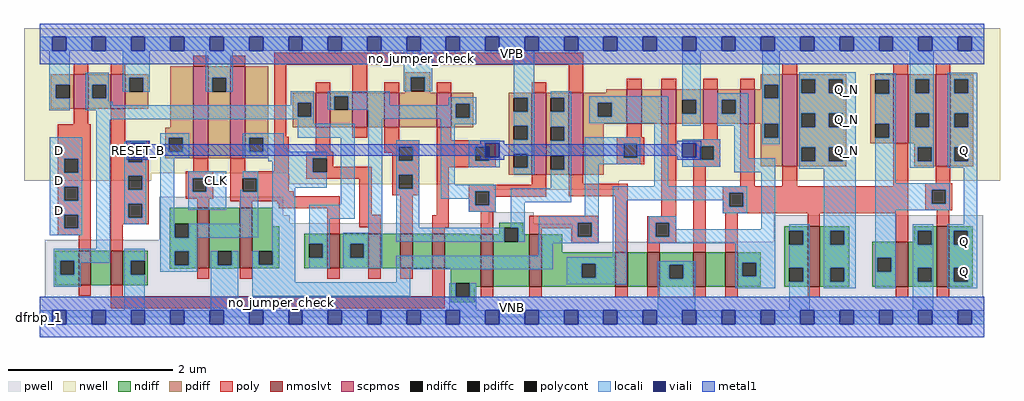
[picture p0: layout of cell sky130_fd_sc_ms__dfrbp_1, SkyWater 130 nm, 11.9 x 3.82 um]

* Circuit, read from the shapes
.subckt sky130_fd_sc_ms__dfrbp_1 CLK D RESET_B VGND VNB VPB VPWR Q Q_N
XM1 n1 D n2 VNB sky130_fd_pr__nfet_01v8_lvt w=0.42 l=0.15
XM2 VGND RESET_B n1 VNB sky130_fd_pr__nfet_01v8_lvt w=0.42 l=0.15
XM3 VGND CLK n3 VNB sky130_fd_pr__nfet_01v8_lvt w=0.74 l=0.15
XM4 n4 n3 VGND VNB sky130_fd_pr__nfet_01v8_lvt w=0.74 l=0.15
XM5 n5 n3 n2 VNB sky130_fd_pr__nfet_01v8_lvt w=0.42 l=0.15
XM6 n6 n4 n5 VNB sky130_fd_pr__nfet_01v8_lvt w=0.42 l=0.15
XM7 n7 n8 n6 VNB sky130_fd_pr__nfet_01v8_lvt w=0.42 l=0.15
XM8 VGND RESET_B n7 VNB sky130_fd_pr__nfet_01v8_lvt w=0.42 l=0.15
XM9 n8 n5 VGND VNB sky130_fd_pr__nfet_01v8_lvt w=0.64 l=0.15
XM10 n9 n4 n8 VNB sky130_fd_pr__nfet_01v8_lvt w=0.64 l=0.15
XM11 n10 n3 n9 VNB sky130_fd_pr__nfet_01v8_lvt w=0.42 l=0.15
XM12 VGND n11 n10 VNB sky130_fd_pr__nfet_01v8_lvt w=0.42 l=0.15
XM13 n12 RESET_B VGND VNB sky130_fd_pr__nfet_01v8_lvt w=0.42 l=0.15
XM14 n11 n9 n12 VNB sky130_fd_pr__nfet_01v8_lvt w=0.42 l=0.15
XM15 Q_N n9 VGND VNB sky130_fd_pr__nfet_01v8_lvt w=0.74 l=0.15
XM16 VGND n9 n13 VNB sky130_fd_pr__nfet_01v8_lvt w=0.55 l=0.15
XM17 Q n13 VGND VNB sky130_fd_pr__nfet_01v8_lvt w=0.74 l=0.15
XM18 n2 D VPWR VPB sky130_fd_pr__pfet_01v8 w=0.42 l=0.18
XM19 VPWR RESET_B n2 VPB sky130_fd_pr__pfet_01v8 w=0.42 l=0.18
XM20 VPWR CLK n3 VPB sky130_fd_pr__pfet_01v8 w=1.12 l=0.18
XM21 n4 n3 VPWR VPB sky130_fd_pr__pfet_01v8 w=1.12 l=0.18
XM22 n5 n4 n2 VPB sky130_fd_pr__pfet_01v8 w=0.42 l=0.18
XM23 n14 n3 n5 VPB sky130_fd_pr__pfet_01v8 w=0.42 l=0.18
XM24 VPWR n8 n14 VPB sky130_fd_pr__pfet_01v8 w=0.42 l=0.18
XM25 n5 RESET_B VPWR VPB sky130_fd_pr__pfet_01v8 w=0.42 l=0.18
XM26 n8 n5 VPWR VPB sky130_fd_pr__pfet_01v8 w=1 l=0.18
XM27 n9 n3 n8 VPB sky130_fd_pr__pfet_01v8 w=1 l=0.18
XM28 n15 n4 n9 VPB sky130_fd_pr__pfet_01v8 w=0.42 l=0.18
XM29 VPWR n11 n15 VPB sky130_fd_pr__pfet_01v8 w=0.42 l=0.18
XM30 n11 RESET_B VPWR VPB sky130_fd_pr__pfet_01v8 w=0.42 l=0.18
XM31 VPWR n9 n11 VPB sky130_fd_pr__pfet_01v8 w=0.42 l=0.18
XM32 Q_N n9 VPWR VPB sky130_fd_pr__pfet_01v8 w=1.12 l=0.18
XM33 VPWR n9 n13 VPB sky130_fd_pr__pfet_01v8 w=0.84 l=0.18
XM34 Q n13 VPWR VPB sky130_fd_pr__pfet_01v8 w=1.12 l=0.18
.ends

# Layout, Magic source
magic
tech sky130A
magscale 1 2
<< nwell >>
rect -38 351 2342 704
rect -38 332 272 351
rect 607 332 2342 351
rect 607 324 1412 332
rect 1108 311 1412 324
<< pwell >>
rect 292 248 594 293
rect 292 229 610 248
rect 1095 229 1205 256
rect 292 228 1205 229
rect 292 188 1300 228
rect 12 184 1300 188
rect 1790 184 2301 248
rect 12 49 2301 184
rect 0 0 2304 49
<< scpmos >>
rect 83 508 119 592
rect 173 508 209 592
rect 375 387 411 611
rect 465 387 501 611
rect 673 463 709 547
rect 763 463 799 547
rect 841 463 877 547
rect 968 463 1004 547
rect 1200 347 1236 547
rect 1290 347 1326 547
rect 1432 471 1468 555
rect 1516 471 1552 555
rect 1618 471 1654 555
rect 1708 471 1744 555
rect 1811 368 1847 592
rect 2082 424 2118 592
rect 2185 368 2221 592
<< nmoslvt >>
rect 95 78 125 162
rect 173 78 203 162
rect 384 119 414 267
rect 488 119 518 267
rect 702 119 732 203
rect 802 119 832 203
rect 880 119 910 203
rect 958 119 988 203
rect 1076 74 1106 202
rect 1194 74 1224 202
rect 1404 74 1434 158
rect 1482 74 1512 158
rect 1594 74 1624 158
rect 1672 74 1702 158
rect 1873 74 1903 222
rect 2088 74 2118 184
rect 2188 74 2218 222
<< ndiff >>
rect 318 228 384 267
rect 318 194 330 228
rect 364 194 384 228
rect 38 137 95 162
rect 38 103 50 137
rect 84 103 95 137
rect 38 78 95 103
rect 125 78 173 162
rect 203 137 264 162
rect 203 103 222 137
rect 256 103 264 137
rect 318 160 384 194
rect 318 126 330 160
rect 364 126 384 160
rect 318 119 384 126
rect 414 160 488 267
rect 414 126 434 160
rect 468 126 488 160
rect 414 119 488 126
rect 518 222 568 267
rect 518 161 584 222
rect 518 127 534 161
rect 568 127 584 161
rect 518 119 584 127
rect 645 179 702 203
rect 645 145 657 179
rect 691 145 702 179
rect 645 119 702 145
rect 732 179 802 203
rect 732 145 757 179
rect 791 145 802 179
rect 732 119 802 145
rect 832 119 880 203
rect 910 119 958 203
rect 988 202 1045 203
rect 1121 218 1179 230
rect 1121 202 1133 218
rect 988 119 1076 202
rect 318 118 369 119
rect 203 78 264 103
rect 429 118 473 119
rect 1003 82 1076 119
rect 1003 48 1015 82
rect 1049 74 1076 82
rect 1106 184 1133 202
rect 1167 202 1179 218
rect 1167 184 1194 202
rect 1106 74 1194 184
rect 1224 158 1274 202
rect 1816 210 1873 222
rect 1816 176 1828 210
rect 1862 176 1873 210
rect 1224 130 1404 158
rect 1224 96 1322 130
rect 1356 96 1404 130
rect 1224 74 1404 96
rect 1434 74 1482 158
rect 1512 128 1594 158
rect 1512 94 1536 128
rect 1570 94 1594 128
rect 1512 74 1594 94
rect 1624 74 1672 158
rect 1702 133 1759 158
rect 1702 99 1713 133
rect 1747 99 1759 133
rect 1702 74 1759 99
rect 1816 120 1873 176
rect 1816 86 1828 120
rect 1862 86 1873 120
rect 1816 74 1873 86
rect 1903 210 1974 222
rect 1903 176 1928 210
rect 1962 176 1974 210
rect 2133 210 2188 222
rect 2133 184 2141 210
rect 1903 120 1974 176
rect 1903 86 1928 120
rect 1962 86 1974 120
rect 1903 74 1974 86
rect 2031 145 2088 184
rect 2031 111 2043 145
rect 2077 111 2088 145
rect 2031 74 2088 111
rect 2118 176 2141 184
rect 2175 176 2188 210
rect 2118 120 2188 176
rect 2118 86 2141 120
rect 2175 86 2188 120
rect 2118 74 2188 86
rect 2218 210 2275 222
rect 2218 176 2229 210
rect 2263 176 2275 210
rect 2218 120 2275 176
rect 2218 86 2229 120
rect 2263 86 2275 120
rect 2218 74 2275 86
rect 1049 48 1061 74
rect 1003 36 1061 48
<< pdiff >>
rect 27 567 83 592
rect 27 533 39 567
rect 73 533 83 567
rect 27 508 83 533
rect 119 567 173 592
rect 119 533 129 567
rect 163 533 173 567
rect 119 508 173 533
rect 209 584 265 592
rect 209 550 219 584
rect 253 550 265 584
rect 209 508 265 550
rect 319 462 375 611
rect 307 437 375 462
rect 307 403 315 437
rect 349 403 375 437
rect 307 387 375 403
rect 411 584 465 611
rect 411 550 421 584
rect 455 550 465 584
rect 411 387 465 550
rect 501 437 557 611
rect 501 403 511 437
rect 545 403 557 437
rect 501 387 557 403
rect 892 585 953 597
rect 892 551 905 585
rect 939 551 953 585
rect 892 547 953 551
rect 1759 567 1811 592
rect 1759 555 1767 567
rect 1382 547 1432 555
rect 617 522 673 547
rect 617 488 629 522
rect 663 488 673 522
rect 617 463 673 488
rect 709 539 763 547
rect 709 505 719 539
rect 753 505 763 539
rect 709 463 763 505
rect 799 463 841 547
rect 877 463 968 547
rect 1004 520 1057 547
rect 1004 486 1015 520
rect 1049 486 1057 520
rect 1004 463 1057 486
rect 1144 535 1200 547
rect 1144 501 1156 535
rect 1190 501 1200 535
rect 1144 466 1200 501
rect 1144 432 1156 466
rect 1190 432 1200 466
rect 1144 398 1200 432
rect 1144 364 1156 398
rect 1190 364 1200 398
rect 1144 347 1200 364
rect 1236 535 1290 547
rect 1236 501 1246 535
rect 1280 501 1290 535
rect 1236 464 1290 501
rect 1236 430 1246 464
rect 1280 430 1290 464
rect 1236 393 1290 430
rect 1236 359 1246 393
rect 1280 359 1290 393
rect 1236 347 1290 359
rect 1326 523 1432 547
rect 1326 489 1361 523
rect 1395 489 1432 523
rect 1326 471 1432 489
rect 1468 471 1516 555
rect 1552 530 1618 555
rect 1552 496 1567 530
rect 1601 496 1618 530
rect 1552 471 1618 496
rect 1654 530 1708 555
rect 1654 496 1664 530
rect 1698 496 1708 530
rect 1654 471 1708 496
rect 1744 533 1767 555
rect 1801 533 1811 567
rect 1744 471 1811 533
rect 1326 347 1376 471
rect 1759 437 1767 471
rect 1801 437 1811 471
rect 1759 368 1811 437
rect 1847 580 1967 592
rect 1847 546 1857 580
rect 1891 546 1925 580
rect 1959 546 1967 580
rect 1847 497 1967 546
rect 1847 463 1857 497
rect 1891 463 1925 497
rect 1959 463 1967 497
rect 1847 414 1967 463
rect 2026 579 2082 592
rect 2026 545 2038 579
rect 2072 545 2082 579
rect 2026 471 2082 545
rect 2026 437 2038 471
rect 2072 437 2082 471
rect 2026 424 2082 437
rect 2118 580 2185 592
rect 2118 546 2135 580
rect 2169 546 2185 580
rect 2118 497 2185 546
rect 2118 463 2135 497
rect 2169 463 2185 497
rect 2118 424 2185 463
rect 1847 380 1857 414
rect 1891 380 1925 414
rect 1959 380 1967 414
rect 1847 368 1967 380
rect 2133 414 2185 424
rect 2133 380 2141 414
rect 2175 380 2185 414
rect 2133 368 2185 380
rect 2221 580 2277 592
rect 2221 546 2231 580
rect 2265 546 2277 580
rect 2221 497 2277 546
rect 2221 463 2231 497
rect 2265 463 2277 497
rect 2221 414 2277 463
rect 2221 380 2231 414
rect 2265 380 2277 414
rect 2221 368 2277 380
<< ndiffc >>
rect 330 194 364 228
rect 50 103 84 137
rect 222 103 256 137
rect 330 126 364 160
rect 434 126 468 160
rect 534 127 568 161
rect 657 145 691 179
rect 757 145 791 179
rect 1015 48 1049 82
rect 1133 184 1167 218
rect 1828 176 1862 210
rect 1322 96 1356 130
rect 1536 94 1570 128
rect 1713 99 1747 133
rect 1828 86 1862 120
rect 1928 176 1962 210
rect 1928 86 1962 120
rect 2043 111 2077 145
rect 2141 176 2175 210
rect 2141 86 2175 120
rect 2229 176 2263 210
rect 2229 86 2263 120
<< pdiffc >>
rect 39 533 73 567
rect 129 533 163 567
rect 219 550 253 584
rect 315 403 349 437
rect 421 550 455 584
rect 511 403 545 437
rect 905 551 939 585
rect 629 488 663 522
rect 719 505 753 539
rect 1015 486 1049 520
rect 1156 501 1190 535
rect 1156 432 1190 466
rect 1156 364 1190 398
rect 1246 501 1280 535
rect 1246 430 1280 464
rect 1246 359 1280 393
rect 1361 489 1395 523
rect 1567 496 1601 530
rect 1664 496 1698 530
rect 1767 533 1801 567
rect 1767 437 1801 471
rect 1857 546 1891 580
rect 1925 546 1959 580
rect 1857 463 1891 497
rect 1925 463 1959 497
rect 2038 545 2072 579
rect 2038 437 2072 471
rect 2135 546 2169 580
rect 2135 463 2169 497
rect 1857 380 1891 414
rect 1925 380 1959 414
rect 2141 380 2175 414
rect 2231 546 2265 580
rect 2231 463 2265 497
rect 2231 380 2265 414
<< poly >>
rect 83 592 119 618
rect 173 592 209 618
rect 375 611 411 637
rect 465 611 501 637
rect 572 615 1326 645
rect 83 470 119 508
rect 44 386 125 470
rect 44 352 60 386
rect 94 352 125 386
rect 44 318 125 352
rect 44 284 60 318
rect 94 284 125 318
rect 44 250 125 284
rect 44 216 60 250
rect 94 216 125 250
rect 44 200 125 216
rect 95 162 125 200
rect 173 428 209 508
rect 173 412 266 428
rect 173 378 216 412
rect 250 378 266 412
rect 572 440 602 615
rect 673 547 709 573
rect 763 547 799 615
rect 841 547 877 573
rect 968 547 1004 573
rect 1200 547 1236 573
rect 1290 547 1326 615
rect 1811 592 1847 618
rect 2082 592 2118 618
rect 2185 592 2221 618
rect 1432 555 1468 581
rect 1516 555 1552 581
rect 1618 555 1654 581
rect 1708 555 1744 581
rect 173 344 266 378
rect 375 355 411 387
rect 465 355 501 387
rect 572 355 608 440
rect 673 403 709 463
rect 763 437 799 463
rect 841 431 877 463
rect 968 431 1004 463
rect 841 415 926 431
rect 173 310 216 344
rect 250 310 266 344
rect 173 276 266 310
rect 357 339 423 355
rect 357 305 373 339
rect 407 305 423 339
rect 357 289 423 305
rect 465 339 608 355
rect 465 305 495 339
rect 529 307 608 339
rect 650 387 716 403
rect 841 401 876 415
rect 650 353 666 387
rect 700 367 716 387
rect 860 381 876 401
rect 910 381 926 415
rect 700 353 810 367
rect 650 337 810 353
rect 529 305 620 307
rect 465 295 620 305
rect 173 242 216 276
rect 250 242 266 276
rect 384 267 414 289
rect 465 282 732 295
rect 488 267 518 282
rect 579 278 732 282
rect 173 226 266 242
rect 173 162 203 226
rect 583 265 732 278
rect 702 203 732 265
rect 780 249 810 337
rect 860 347 926 381
rect 860 313 876 347
rect 910 313 926 347
rect 860 297 926 313
rect 968 415 1112 431
rect 968 381 1062 415
rect 1096 381 1112 415
rect 968 365 1112 381
rect 780 219 832 249
rect 802 203 832 219
rect 880 203 910 297
rect 968 248 998 365
rect 1432 439 1468 471
rect 1408 423 1474 439
rect 1408 389 1424 423
rect 1458 389 1474 423
rect 1408 373 1474 389
rect 1200 323 1236 347
rect 1046 307 1236 323
rect 1046 273 1062 307
rect 1096 293 1236 307
rect 1290 325 1326 347
rect 1290 295 1434 325
rect 1096 273 1112 293
rect 1046 257 1112 273
rect 958 218 998 248
rect 958 203 988 218
rect 1076 202 1106 257
rect 1194 230 1362 247
rect 384 93 414 119
rect 488 93 518 119
rect 702 93 732 119
rect 802 93 832 119
rect 880 93 910 119
rect 95 52 125 78
rect 173 51 203 78
rect 958 51 988 119
rect 173 21 988 51
rect 1194 217 1312 230
rect 1194 202 1224 217
rect 1296 196 1312 217
rect 1346 196 1362 230
rect 1296 180 1362 196
rect 1404 158 1434 295
rect 1516 246 1552 471
rect 1618 433 1654 471
rect 1482 230 1552 246
rect 1482 196 1502 230
rect 1536 196 1552 230
rect 1482 180 1552 196
rect 1594 417 1660 433
rect 1594 383 1610 417
rect 1644 383 1660 417
rect 1594 367 1660 383
rect 1482 158 1512 180
rect 1594 158 1624 367
rect 1708 319 1744 471
rect 1811 319 1847 368
rect 2082 319 2118 424
rect 2185 326 2221 368
rect 1666 303 2118 319
rect 1666 269 1682 303
rect 1716 269 2118 303
rect 1666 253 2118 269
rect 2160 310 2226 326
rect 2160 276 2176 310
rect 2210 276 2226 310
rect 2160 260 2226 276
rect 1672 158 1702 253
rect 1873 222 1903 253
rect 2088 184 2118 253
rect 2188 222 2218 260
rect 1076 48 1106 74
rect 1194 48 1224 74
rect 1404 48 1434 74
rect 1482 48 1512 74
rect 1594 48 1624 74
rect 1672 48 1702 74
rect 1873 48 1903 74
rect 2088 48 2118 74
rect 2188 48 2218 74
<< polycont >>
rect 60 352 94 386
rect 60 284 94 318
rect 60 216 94 250
rect 216 378 250 412
rect 216 310 250 344
rect 373 305 407 339
rect 495 305 529 339
rect 666 353 700 387
rect 876 381 910 415
rect 216 242 250 276
rect 876 313 910 347
rect 1062 381 1096 415
rect 1424 389 1458 423
rect 1062 273 1096 307
rect 1312 196 1346 230
rect 1502 196 1536 230
rect 1610 383 1644 417
rect 1682 269 1716 303
rect 2176 276 2210 310
<< locali >>
rect 0 649 31 683
rect 65 649 127 683
rect 161 649 223 683
rect 257 649 319 683
rect 353 649 415 683
rect 449 649 511 683
rect 545 649 607 683
rect 641 649 703 683
rect 737 649 799 683
rect 833 649 895 683
rect 929 649 991 683
rect 1025 649 1087 683
rect 1121 649 1183 683
rect 1217 649 1279 683
rect 1313 649 1375 683
rect 1409 649 1471 683
rect 1505 649 1567 683
rect 1601 649 1663 683
rect 1697 649 1759 683
rect 1793 649 1855 683
rect 1889 649 1951 683
rect 1985 649 2047 683
rect 2081 649 2143 683
rect 2177 649 2239 683
rect 2273 649 2304 683
rect 23 567 73 649
rect 23 533 39 567
rect 23 504 73 533
rect 113 567 169 596
rect 113 533 129 567
rect 163 533 169 567
rect 203 584 269 649
rect 203 550 219 584
rect 253 550 269 584
rect 405 584 471 649
rect 405 550 421 584
rect 455 550 471 584
rect 888 585 957 649
rect 888 551 905 585
rect 939 551 957 585
rect 113 525 169 533
rect 113 516 178 525
rect 613 522 669 551
rect 613 516 629 522
rect 113 504 629 516
rect 138 488 629 504
rect 663 488 669 522
rect 703 539 854 551
rect 703 505 719 539
rect 753 517 854 539
rect 998 520 1065 536
rect 998 517 1015 520
rect 753 505 1015 517
rect 138 482 669 488
rect 25 386 104 439
rect 25 352 60 386
rect 94 352 104 386
rect 25 318 104 352
rect 25 284 60 318
rect 94 284 104 318
rect 25 250 104 284
rect 25 216 60 250
rect 94 216 104 250
rect 25 200 104 216
rect 138 166 172 482
rect 629 471 669 482
rect 802 486 1015 505
rect 1049 486 1065 520
rect 802 483 1065 486
rect 294 437 365 448
rect 206 424 260 428
rect 206 412 223 424
rect 206 378 216 412
rect 257 390 260 424
rect 250 378 260 390
rect 206 344 260 378
rect 206 310 216 344
rect 250 310 260 344
rect 206 276 260 310
rect 206 242 216 276
rect 250 242 260 276
rect 206 226 260 242
rect 294 403 315 437
rect 349 403 365 437
rect 294 389 365 403
rect 495 437 595 448
rect 629 437 768 471
rect 495 403 511 437
rect 545 412 595 437
rect 545 403 604 412
rect 495 389 700 403
rect 294 228 328 389
rect 558 387 700 389
rect 558 380 666 387
rect 409 355 455 356
rect 362 339 455 355
rect 362 305 373 339
rect 407 305 455 339
rect 495 339 533 355
rect 362 262 455 305
rect 489 305 495 310
rect 529 305 533 339
rect 489 228 533 305
rect 294 194 330 228
rect 364 195 533 228
rect 567 353 666 380
rect 567 315 700 353
rect 364 194 508 195
rect 34 137 172 166
rect 34 103 50 137
rect 84 132 172 137
rect 206 137 256 166
rect 84 103 100 132
rect 34 74 100 103
rect 206 103 222 137
rect 294 160 384 194
rect 567 161 623 315
rect 734 274 768 437
rect 294 126 330 160
rect 364 126 384 160
rect 294 110 384 126
rect 418 126 434 160
rect 468 126 484 160
rect 206 17 256 103
rect 418 17 484 126
rect 518 127 534 161
rect 568 127 623 161
rect 518 85 623 127
rect 657 240 768 274
rect 657 179 707 240
rect 802 206 836 483
rect 978 470 1065 483
rect 1156 535 1206 649
rect 1190 501 1206 535
rect 691 145 707 179
rect 657 119 707 145
rect 741 179 836 206
rect 870 415 926 431
rect 870 381 876 415
rect 910 381 926 415
rect 870 347 926 381
rect 870 313 876 347
rect 910 313 926 347
rect 870 218 926 313
rect 978 323 1012 470
rect 1156 466 1206 501
rect 1190 432 1206 466
rect 1046 424 1122 431
rect 1046 415 1087 424
rect 1046 381 1062 415
rect 1121 390 1122 424
rect 1096 381 1122 390
rect 1046 365 1122 381
rect 1156 398 1206 432
rect 1190 364 1206 398
rect 1156 348 1206 364
rect 1246 535 1296 551
rect 1280 501 1296 535
rect 1246 464 1296 501
rect 1340 523 1533 539
rect 1340 489 1361 523
rect 1395 489 1533 523
rect 1340 473 1533 489
rect 1280 430 1296 464
rect 1246 393 1296 430
rect 1280 359 1296 393
rect 978 307 1112 323
rect 1246 314 1296 359
rect 978 289 1062 307
rect 1046 273 1062 289
rect 1096 273 1112 307
rect 1046 257 1112 273
rect 1149 280 1296 314
rect 1330 423 1465 439
rect 1330 389 1424 423
rect 1458 389 1465 423
rect 1330 373 1465 389
rect 1149 218 1183 280
rect 1330 246 1364 373
rect 1499 319 1533 473
rect 1567 530 1612 649
rect 1762 567 1805 649
rect 1601 496 1612 530
rect 1567 467 1612 496
rect 1652 530 1728 546
rect 1652 496 1664 530
rect 1698 496 1728 530
rect 1652 467 1728 496
rect 1567 424 1660 433
rect 1601 417 1660 424
rect 1601 390 1610 417
rect 1567 383 1610 390
rect 1644 383 1660 417
rect 1567 367 1660 383
rect 1694 387 1728 467
rect 1762 533 1767 567
rect 1801 533 1805 567
rect 1762 471 1805 533
rect 1762 437 1767 471
rect 1801 437 1805 471
rect 1762 421 1805 437
rect 1852 580 1990 597
rect 1852 546 1857 580
rect 1891 546 1925 580
rect 1959 546 1990 580
rect 1852 497 1990 546
rect 1852 463 1857 497
rect 1891 463 1925 497
rect 1959 463 1990 497
rect 1852 414 1990 463
rect 1694 353 1794 387
rect 1852 380 1857 414
rect 1891 380 1925 414
rect 1959 380 1990 414
rect 1852 362 1990 380
rect 870 184 1133 218
rect 1167 184 1183 218
rect 1217 230 1364 246
rect 1217 196 1312 230
rect 1346 196 1364 230
rect 741 145 757 179
rect 791 145 836 179
rect 1217 180 1364 196
rect 1398 303 1726 319
rect 1398 285 1682 303
rect 1217 150 1251 180
rect 741 119 836 145
rect 870 116 1251 150
rect 1398 146 1432 285
rect 1666 269 1682 285
rect 1716 269 1726 303
rect 1666 253 1726 269
rect 1486 230 1552 246
rect 1486 196 1502 230
rect 1536 214 1552 230
rect 1760 214 1794 353
rect 1536 196 1794 214
rect 1486 180 1794 196
rect 1285 130 1432 146
rect 870 85 904 116
rect 518 51 904 85
rect 1285 96 1322 130
rect 1356 96 1432 130
rect 999 48 1015 82
rect 1049 48 1065 82
rect 1285 80 1432 96
rect 1507 128 1599 136
rect 1507 94 1536 128
rect 1570 94 1599 128
rect 999 17 1065 48
rect 1507 17 1599 94
rect 1697 133 1794 180
rect 1697 99 1713 133
rect 1747 99 1794 133
rect 1697 70 1794 99
rect 1828 210 1878 226
rect 1862 176 1878 210
rect 1828 120 1878 176
rect 1862 86 1878 120
rect 1828 17 1878 86
rect 1912 210 1990 362
rect 1912 176 1928 210
rect 1962 176 1990 210
rect 1912 120 1990 176
rect 1912 86 1928 120
rect 1962 86 1990 120
rect 1912 70 1990 86
rect 2038 579 2088 595
rect 2072 545 2088 579
rect 2038 471 2088 545
rect 2072 437 2088 471
rect 2038 326 2088 437
rect 2122 580 2181 649
rect 2122 546 2135 580
rect 2169 546 2181 580
rect 2122 497 2181 546
rect 2122 463 2135 497
rect 2169 463 2181 497
rect 2122 414 2181 463
rect 2122 380 2141 414
rect 2175 380 2181 414
rect 2122 364 2181 380
rect 2215 580 2287 596
rect 2215 546 2231 580
rect 2265 546 2287 580
rect 2215 497 2287 546
rect 2215 463 2231 497
rect 2265 463 2287 497
rect 2215 414 2287 463
rect 2215 380 2231 414
rect 2265 380 2287 414
rect 2215 364 2287 380
rect 2038 310 2219 326
rect 2038 276 2176 310
rect 2210 276 2219 310
rect 2038 260 2219 276
rect 2038 145 2088 260
rect 2253 226 2287 364
rect 2038 111 2043 145
rect 2077 111 2088 145
rect 2038 70 2088 111
rect 2129 210 2179 226
rect 2129 176 2141 210
rect 2175 176 2179 210
rect 2129 120 2179 176
rect 2129 86 2141 120
rect 2175 86 2179 120
rect 2129 17 2179 86
rect 2213 210 2287 226
rect 2213 176 2229 210
rect 2263 176 2287 210
rect 2213 120 2287 176
rect 2213 86 2229 120
rect 2263 86 2287 120
rect 2213 70 2287 86
rect 0 -17 31 17
rect 65 -17 127 17
rect 161 -17 223 17
rect 257 -17 319 17
rect 353 -17 415 17
rect 449 -17 511 17
rect 545 -17 607 17
rect 641 -17 703 17
rect 737 -17 799 17
rect 833 -17 895 17
rect 929 -17 991 17
rect 1025 -17 1087 17
rect 1121 -17 1183 17
rect 1217 -17 1279 17
rect 1313 -17 1375 17
rect 1409 -17 1471 17
rect 1505 -17 1567 17
rect 1601 -17 1663 17
rect 1697 -17 1759 17
rect 1793 -17 1855 17
rect 1889 -17 1951 17
rect 1985 -17 2047 17
rect 2081 -17 2143 17
rect 2177 -17 2239 17
rect 2273 -17 2304 17
<< viali >>
rect 31 649 65 683
rect 127 649 161 683
rect 223 649 257 683
rect 319 649 353 683
rect 415 649 449 683
rect 511 649 545 683
rect 607 649 641 683
rect 703 649 737 683
rect 799 649 833 683
rect 895 649 929 683
rect 991 649 1025 683
rect 1087 649 1121 683
rect 1183 649 1217 683
rect 1279 649 1313 683
rect 1375 649 1409 683
rect 1471 649 1505 683
rect 1567 649 1601 683
rect 1663 649 1697 683
rect 1759 649 1793 683
rect 1855 649 1889 683
rect 1951 649 1985 683
rect 2047 649 2081 683
rect 2143 649 2177 683
rect 2239 649 2273 683
rect 223 412 257 424
rect 223 390 250 412
rect 250 390 257 412
rect 1087 415 1121 424
rect 1087 390 1096 415
rect 1096 390 1121 415
rect 1567 390 1601 424
rect 31 -17 65 17
rect 127 -17 161 17
rect 223 -17 257 17
rect 319 -17 353 17
rect 415 -17 449 17
rect 511 -17 545 17
rect 607 -17 641 17
rect 703 -17 737 17
rect 799 -17 833 17
rect 895 -17 929 17
rect 991 -17 1025 17
rect 1087 -17 1121 17
rect 1183 -17 1217 17
rect 1279 -17 1313 17
rect 1375 -17 1409 17
rect 1471 -17 1505 17
rect 1567 -17 1601 17
rect 1663 -17 1697 17
rect 1759 -17 1793 17
rect 1855 -17 1889 17
rect 1951 -17 1985 17
rect 2047 -17 2081 17
rect 2143 -17 2177 17
rect 2239 -17 2273 17
<< metal1 >>
rect 0 683 2304 715
rect 0 649 31 683
rect 65 649 127 683
rect 161 649 223 683
rect 257 649 319 683
rect 353 649 415 683
rect 449 649 511 683
rect 545 649 607 683
rect 641 649 703 683
rect 737 649 799 683
rect 833 649 895 683
rect 929 649 991 683
rect 1025 649 1087 683
rect 1121 649 1183 683
rect 1217 649 1279 683
rect 1313 649 1375 683
rect 1409 649 1471 683
rect 1505 649 1567 683
rect 1601 649 1663 683
rect 1697 649 1759 683
rect 1793 649 1855 683
rect 1889 649 1951 683
rect 1985 649 2047 683
rect 2081 649 2143 683
rect 2177 649 2239 683
rect 2273 649 2304 683
rect 0 617 2304 649
rect 211 424 269 430
rect 211 390 223 424
rect 257 421 269 424
rect 1075 424 1133 430
rect 1075 421 1087 424
rect 257 393 1087 421
rect 257 390 269 393
rect 211 384 269 390
rect 1075 390 1087 393
rect 1121 421 1133 424
rect 1555 424 1613 430
rect 1555 421 1567 424
rect 1121 393 1567 421
rect 1121 390 1133 393
rect 1075 384 1133 390
rect 1555 390 1567 393
rect 1601 390 1613 424
rect 1555 384 1613 390
rect 0 17 2304 49
rect 0 -17 31 17
rect 65 -17 127 17
rect 161 -17 223 17
rect 257 -17 319 17
rect 353 -17 415 17
rect 449 -17 511 17
rect 545 -17 607 17
rect 641 -17 703 17
rect 737 -17 799 17
rect 833 -17 895 17
rect 929 -17 991 17
rect 1025 -17 1087 17
rect 1121 -17 1183 17
rect 1217 -17 1279 17
rect 1313 -17 1375 17
rect 1409 -17 1471 17
rect 1505 -17 1567 17
rect 1601 -17 1663 17
rect 1697 -17 1759 17
rect 1793 -17 1855 17
rect 1889 -17 1951 17
rect 1985 -17 2047 17
rect 2081 -17 2143 17
rect 2177 -17 2239 17
rect 2273 -17 2304 17
rect 0 -49 2304 -17
<< labels >>
flabel pwell s 0 0 2304 49 0 FreeSans 200 0 0 0 VNB
port 5 nsew ground bidirectional
flabel nwell s 0 617 2304 666 0 FreeSans 200 0 0 0 VPB
port 6 nsew power bidirectional
flabel comment s 932 630 932 630 0 FreeSans 300 0 0 0 no_jumper_check
flabel comment s 591 36 591 36 0 FreeSans 300 0 0 0 no_jumper_check
rlabel comment s 0 0 0 0 4 dfrbp_1
flabel metal1 s 223 390 257 424 0 FreeSans 340 0 0 0 RESET_B
port 3 nsew signal input
flabel metal1 s 0 617 2304 666 0 FreeSans 340 0 0 0 VPWR
port 7 nsew power bidirectional
flabel metal1 s 0 0 2304 49 0 FreeSans 340 0 0 0 VGND
port 4 nsew ground bidirectional
flabel locali s 2239 94 2273 128 0 FreeSans 340 0 0 0 Q
port 8 nsew signal output
flabel locali s 2239 168 2273 202 0 FreeSans 340 0 0 0 Q
port 8 nsew signal output
flabel locali s 2239 390 2273 424 0 FreeSans 340 0 0 0 Q
port 8 nsew signal output
flabel locali s 415 316 449 350 0 FreeSans 340 0 0 0 CLK
port 1 nsew clock input
flabel locali s 31 242 65 276 0 FreeSans 340 0 0 0 D
port 2 nsew signal input
flabel locali s 31 316 65 350 0 FreeSans 340 0 0 0 D
port 2 nsew signal input
flabel locali s 31 390 65 424 0 FreeSans 340 0 0 0 D
port 2 nsew signal input
flabel locali s 1951 390 1985 424 0 FreeSans 340 0 0 0 Q_N
port 9 nsew signal output
flabel locali s 1951 464 1985 498 0 FreeSans 340 0 0 0 Q_N
port 9 nsew signal output
flabel locali s 1951 538 1985 572 0 FreeSans 340 0 0 0 Q_N
port 9 nsew signal output
<< properties >>
string LEFsite unit
string LEFclass CORE
string FIXED_BBOX 0 0 2304 666
string GDS_FILE $PDKPATH/libs.ref/sky130_fd_sc_ms/gds/sky130_fd_sc_ms.gds
string LEFsymmetry X Y R90
string GDS_END 2562036
string GDS_START 2544502
<< end >>
